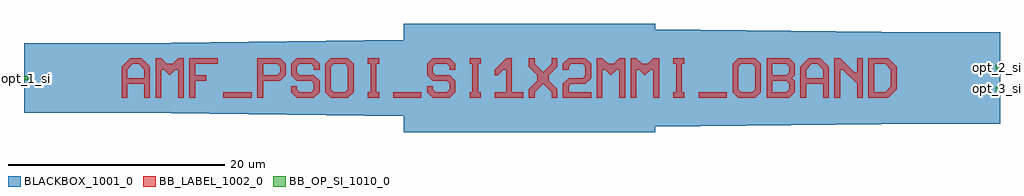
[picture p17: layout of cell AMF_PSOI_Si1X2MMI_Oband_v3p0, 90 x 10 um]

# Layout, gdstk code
import gdstk
lib = gdstk.Library(unit=1e-6, precision=1e-09)
def R(c, l, rs):  # rectangles x0, y0, x1, y1
    for r in rs: c.add(gdstk.rectangle(r[:2], r[2:], *l))
def P(c, l, *ps):  # polygons
    for p in ps: c.add(gdstk.Polygon(p, *l))
BLACKBOX_1001_0 = (1001, 0)
BB_LABEL_1002_0 = (1002, 0)
BB_OP_SI_1010_0 = (1010, 0)

amf_psoi_si1x2mmi_oband_ = lib.new_cell('AMF_PSOI_Si1X2MMI_Oband_v3p0')
P(amf_psoi_si1x2mmi_oband_, BLACKBOX_1001_0, [(35,-5),(35,-3.513),(10,-3.205),(0,-3.205),(0,3.205),(10,3.205),(35,3.513),(35,5),(58.2,5),(58.2,4.513),(83.2,4.205),(90,4.205),(90,-4.205),(83.2,-4.205),(58.2,-4.513),(58.2,-5)])
R(amf_psoi_si1x2mmi_oband_, BB_LABEL_1002_0, [(18.39,-1.826,20.999,-1.304), (34.04,-1.826,36.649,-1.304), (62.21,-1.826,64.819,-1.304)])
P(amf_psoi_si1x2mmi_oband_, BB_LABEL_1002_0, [(9,-1.826),(9,1.043),(9.783,1.826),(10.826,1.826),(11.348,1.304),(10.043,1.304),(9.522,0.783),(9.522,0),(11.087,0),(11.087,0.783),(10.565,1.304),(11.348,1.304),(11.609,1.043),(11.609,-1.826),(11.087,-1.826),(11.087,-0.522),(9.522,-0.522),(9.522,-1.826)],
  [(12.13,-1.826),(12.13,1.826),(12.652,1.826),(13.173,1.304),(13.695,1.304),(14.217,1.826),(14.739,1.826),(14.739,-1.826),(14.217,-1.826),(14.217,0.783),(13.956,0.783),(13.434,0.261),(12.913,0.783),(12.652,0.783),(12.652,-1.826)],
  [(15.26,-1.826),(15.26,1.826),(17.869,1.826),(17.869,1.304),(15.782,1.304),(15.782,0.261),(16.825,0.261),(16.825,-0.261),(15.782,-0.261),(15.782,-1.826)],
  [(21.52,-1.826),(21.52,1.826),(23.607,1.826),(24.129,1.304),(24.129,0.261),(23.607,-0.261),(22.042,-0.261),(22.042,0.261),(23.346,0.261),(23.607,0.522),(23.607,1.043),(23.346,1.304),(22.042,1.304),(22.042,-1.826)],
  [(25.172,-1.826),(24.65,-1.304),(24.65,-0.783),(25.172,-0.783),(25.172,-1.043),(25.433,-1.304),(26.476,-1.304),(26.737,-1.043),(26.737,-0.522),(26.476,-0.261),(25.172,-0.261),(24.65,0.261),(24.65,1.304),(25.172,1.826),(26.737,1.826),(27.259,1.304),(27.259,0.783),(26.737,0.783),(26.737,1.043),(26.476,1.304),(25.433,1.304),(25.172,1.043),(25.172,0.522),(25.433,0.261),(26.737,0.261),(27.259,-0.261),(27.259,-1.304),(26.737,-1.826)],
  [(28.302,-1.826),(27.78,-1.304),(27.78,1.304),(28.302,1.826),(29.867,1.826),(30.389,1.304),(30.389,0),(29.867,0),(29.867,1.043),(29.606,1.304),(28.563,1.304),(28.302,1.043),(28.302,-1.043),(28.563,-1.304),(29.606,-1.304),(29.867,-1.043),(29.867,0),(30.389,0),(30.389,-1.304),(29.867,-1.826)],
  [(31.693,-1.826),(31.693,-1.304),(31.953,-1.304),(31.953,1.304),(31.693,1.304),(31.693,1.826),(32.736,1.826),(32.736,1.304),(32.475,1.304),(32.475,-1.304),(32.736,-1.304),(32.736,-1.826)],
  [(37.692,-1.826),(37.17,-1.304),(37.17,-0.783),(37.692,-0.783),(37.692,-1.043),(37.953,-1.304),(38.996,-1.304),(39.257,-1.043),(39.257,-0.522),(38.996,-0.261),(37.692,-0.261),(37.17,0.261),(37.17,1.304),(37.692,1.826),(39.257,1.826),(39.779,1.304),(39.779,0.783),(39.257,0.783),(39.257,1.043),(38.996,1.304),(37.953,1.304),(37.692,1.043),(37.692,0.522),(37.953,0.261),(39.257,0.261),(39.779,-0.261),(39.779,-1.304),(39.257,-1.826)],
  [(41.083,-1.826),(41.083,-1.304),(41.343,-1.304),(41.343,1.304),(41.083,1.304),(41.083,1.826),(42.126,1.826),(42.126,1.304),(41.865,1.304),(41.865,-1.304),(42.126,-1.304),(42.126,-1.826)],
  [(43.43,-1.826),(43.43,-1.304),(44.473,-1.304),(44.473,0.783),(44.213,0.783),(43.691,0.261),(43.43,0.261),(43.43,0.783),(44.473,1.826),(44.995,1.826),(44.995,-1.304),(46.039,-1.304),(46.039,-1.826)],
  [(46.56,-1.826),(46.56,-1.043),(47.343,-0.261),(47.343,0.261),(46.56,1.043),(46.56,1.826),(47.082,1.826),(47.082,1.304),(47.864,0.522),(48.647,1.304),(48.647,1.826),(49.169,1.826),(49.169,1.043),(48.386,0.261),(48.386,-0.261),(49.169,-1.043),(49.169,-1.826),(48.647,-1.826),(48.647,-1.304),(47.864,-0.522),(47.082,-1.304),(47.082,-1.826)],
  [(49.69,-1.826),(49.69,-0.522),(50.212,0),(51.516,0),(51.777,0.261),(51.777,1.043),(51.516,1.304),(50.473,1.304),(50.212,1.043),(50.212,0.783),(49.69,0.783),(49.69,1.304),(50.212,1.826),(51.777,1.826),(52.299,1.304),(52.299,0),(51.777,-0.522),(50.473,-0.522),(50.212,-0.783),(50.212,-1.304),(52.299,-1.304),(52.299,-1.826)],
  [(52.82,-1.826),(52.82,1.826),(53.342,1.826),(53.863,1.304),(54.385,1.304),(54.907,1.826),(55.429,1.826),(55.429,-1.826),(54.907,-1.826),(54.907,0.783),(54.646,0.783),(54.124,0.261),(53.603,0.783),(53.342,0.783),(53.342,-1.826)],
  [(55.95,-1.826),(55.95,1.826),(56.472,1.826),(56.993,1.304),(57.515,1.304),(58.037,1.826),(58.559,1.826),(58.559,-1.826),(58.037,-1.826),(58.037,0.783),(57.776,0.783),(57.254,0.261),(56.733,0.783),(56.472,0.783),(56.472,-1.826)],
  [(59.863,-1.826),(59.863,-1.304),(60.123,-1.304),(60.123,1.304),(59.863,1.304),(59.863,1.826),(60.906,1.826),(60.906,1.304),(60.645,1.304),(60.645,-1.304),(60.906,-1.304),(60.906,-1.826)],
  [(65.862,-1.826),(65.34,-1.304),(65.34,1.304),(65.862,1.826),(67.427,1.826),(67.949,1.304),(67.949,0),(67.427,0),(67.427,1.043),(67.166,1.304),(66.123,1.304),(65.862,1.043),(65.862,-1.043),(66.123,-1.304),(67.166,-1.304),(67.427,-1.043),(67.427,0),(67.949,0),(67.949,-1.304),(67.427,-1.826)],
  [(68.47,-1.826),(68.47,1.826),(70.557,1.826),(71.079,1.304),(68.992,1.304),(68.992,0.261),(70.296,0.261),(70.557,0.522),(70.557,1.043),(70.296,1.304),(71.079,1.304),(71.079,0.261),(70.818,0),(71.079,-0.261),(68.992,-0.261),(68.992,-1.304),(70.296,-1.304),(70.557,-1.043),(70.557,-0.522),(70.296,-0.261),(71.079,-0.261),(71.079,-1.304),(70.557,-1.826)],
  [(71.6,-1.826),(71.6,1.043),(72.383,1.826),(73.426,1.826),(73.948,1.304),(72.643,1.304),(72.122,0.783),(72.122,0),(73.687,0),(73.687,0.783),(73.165,1.304),(73.948,1.304),(74.209,1.043),(74.209,-1.826),(73.687,-1.826),(73.687,-0.522),(72.122,-0.522),(72.122,-1.826)],
  [(74.73,-1.826),(74.73,1.826),(75.252,1.826),(76.556,0.522),(76.817,0.522),(76.817,1.826),(77.339,1.826),(77.339,-1.826),(76.817,-1.826),(76.817,-0.522),(75.513,0.783),(75.252,0.783),(75.252,-1.826)],
  [(77.86,-1.826),(77.86,1.826),(79.686,1.826),(80.208,1.304),(78.382,1.304),(78.382,-1.304),(79.425,-1.304),(79.947,-0.783),(79.947,0.783),(79.425,1.304),(80.208,1.304),(80.469,1.043),(80.469,-1.043),(79.686,-1.826)])
R(amf_psoi_si1x2mmi_oband_, BB_OP_SI_1010_0, [(89.59,-1.205,90,-0.795), (0,-0.205,0.41,0.205), (89.59,0.795,90,1.205)])
amf_psoi_si1x2mmi_oband_.add(gdstk.Label('opt_2_si', (90,1), layer=1010, texttype=0))
amf_psoi_si1x2mmi_oband_.add(gdstk.Label('opt_3_si', (90,-1), layer=1010, texttype=0))
amf_psoi_si1x2mmi_oband_.add(gdstk.Label('opt_1_si', (0,0), layer=1010, texttype=0))

lib.write_gds('AMF_PSOI_Si1X2MMI_Oband_v3p0.gds')
